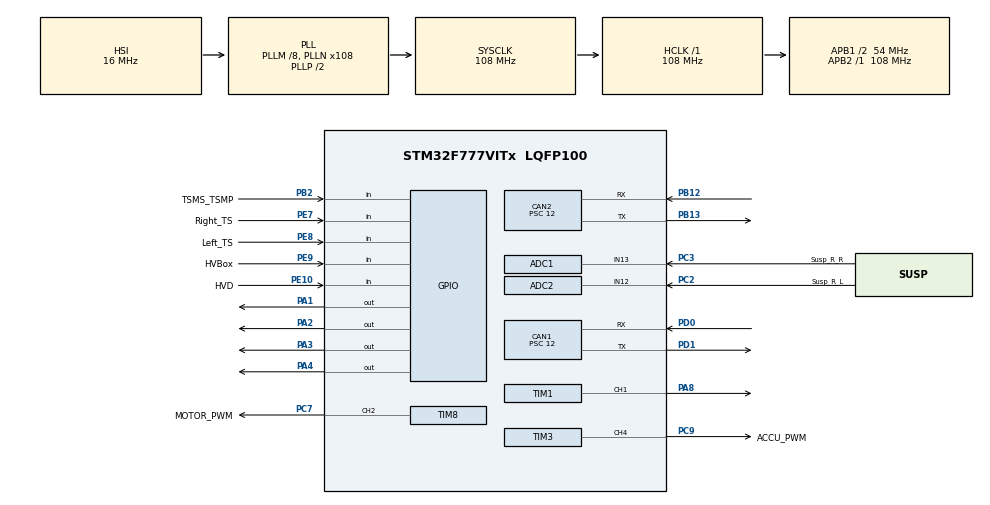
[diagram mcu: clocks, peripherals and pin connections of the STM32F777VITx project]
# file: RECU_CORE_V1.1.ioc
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ADC1.Channel-0\#ChannelRegularConversion=ADC_CHANNEL_13
ADC1.Channel-1\#ChannelRegularConversion=ADC_CHANNEL_12
ADC1.ContinuousConvMode=ENABLE
ADC1.DMAContinuousRequests=ENABLE
ADC1.EOCSelection=ADC_EOC_SEQ_CONV
ADC1.ExternalTrigConv=ADC_EXTERNALTRIGCONV_T5_TRGO
ADC1.NbrOfConversion=2
ADC1.NbrOfConversionFlag=1
ADC1.Rank-0\#ChannelRegularConversion=1
ADC1.Rank-1\#ChannelRegularConversion=2
ADC1.SamplingTime-0\#ChannelRegularConversion=ADC_SAMPLETIME_480CYCLES
ADC1.SamplingTime-1\#ChannelRegularConversion=ADC_SAMPLETIME_480CYCLES
ADC1.ScanConvMode=ADC_SCAN_ENABLE
ADC1.master=1
ADC2.Channel-0\#ChannelRegularConversion=ADC_CHANNEL_12
ADC2.NbrOfConversionFlag=1
ADC2.Rank-0\#ChannelRegularConversion=1
ADC2.SamplingTime-0\#ChannelRegularConversion=ADC_SAMPLETIME_3CYCLES
CAN1.BS1=CAN_BS1_6TQ
CAN1.BS2=CAN_BS2_2TQ
CAN1.CalculateBaudRate=500000
CAN1.CalculateTimeBit=2000
CAN1.CalculateTimeQuantum=222.22222222222223
CAN1.Prescaler=12
CAN2.BS1=CAN_BS1_6TQ
CAN2.BS2=CAN_BS2_2TQ
CAN2.CalculateBaudRate=500000
CAN2.CalculateTimeBit=2000
CAN2.CalculateTimeQuantum=222.22222222222223
CAN2.Prescaler=12
CORTEX_M7.default_mode_Activation=1
Dma.ADC1.0.Direction=DMA_PERIPH_TO_MEMORY
Dma.ADC1.0.FIFOMode=DMA_FIFOMODE_DISABLE
Dma.ADC1.0.Instance=DMA2_Stream0
Dma.ADC1.0.MemDataAlignment=DMA_MDATAALIGN_HALFWORD
Dma.ADC1.0.MemInc=DMA_MINC_ENABLE
Dma.ADC1.0.Mode=DMA_CIRCULAR
Dma.ADC1.0.PeriphDataAlignment=DMA_PDATAALIGN_HALFWORD
Dma.ADC1.0.PeriphInc=DMA_PINC_DISABLE
Dma.ADC1.0.Priority=DMA_PRIORITY_LOW
Dma.Request0=ADC1
Mcu.Family=STM32F7
Mcu.Name=STM32F777VITx
Mcu.Package=LQFP100
NVIC.CAN1_RX0_IRQn=true\:6\:0\:true\:false\:true\:true\:true\:true
NVIC.CAN1_RX1_IRQn=true\:6\:0\:true\:false\:true\:true\:true\:true
NVIC.CAN1_SCE_IRQn=true\:6\:0\:true\:false\:true\:true\:true\:true
NVIC.CAN1_TX_IRQn=true\:6\:0\:true\:false\:true\:true\:true\:true
NVIC.CAN2_RX0_IRQn=true\:6\:0\:true\:false\:true\:true\:true\:true
NVIC.CAN2_RX1_IRQn=true\:6\:0\:true\:false\:true\:true\:true\:true
NVIC.CAN2_SCE_IRQn=true\:6\:0\:true\:false\:true\:true\:true\:true
NVIC.CAN2_TX_IRQn=true\:6\:0\:true\:false\:true\:true\:true\:true
NVIC.DMA2_Stream0_IRQn=true\:2\:0\:true\:false\:true\:false\:true\:true
NVIC.PriorityGroup=NVIC_PRIORITYGROUP_4
NVIC.TIM4_IRQn=true\:0\:0\:true\:false\:true\:true\:true\:true
PA1.Signal=GPIO_Output
PA2.Signal=GPIO_Output
PA3.Signal=GPIO_Output
PA4.Signal=GPIO_Output
PA8.Signal=S_TIM1_CH1
PB12.Mode=CAN_Activate
PB12.Signal=CAN2_RX
PB13.Mode=CAN_Activate
PB13.Signal=CAN2_TX
PB2.GPIO_Label=TSMS_TSMP
PB2.Signal=GPIO_Input
PC2.GPIO_Label=Susp_R_L
PC2.Signal=ADCx_IN12
PC3.GPIO_Label=Susp_R_R
PC3.Signal=ADCx_IN13
PC7.GPIO_Label=MOTOR_PWM
PC7.Signal=S_TIM8_CH2
PC9.GPIO_Label=ACCU_PWM
PC9.Signal=S_TIM3_CH4
PD0.Mode=CAN_Activate
PD0.Signal=CAN1_RX
PD1.Mode=CAN_Activate
PD1.Signal=CAN1_TX
PE10.GPIO_Label=HVD
PE10.Signal=GPIO_Input
PE7.GPIO_Label=Right_TS
PE7.Signal=GPIO_Input
PE8.GPIO_Label=Left_TS
PE8.Signal=GPIO_Input
PE9.GPIO_Label=HVBox
PE9.Signal=GPIO_Input
ProjectManager.HeapSize=0x200
ProjectManager.StackSize=0x400
ProjectManager.TargetToolchain=STM32CubeIDE
RCC.AHBFreq_Value=108000000
RCC.APB1CLKDivider=RCC_HCLK_DIV2
RCC.APB1Freq_Value=54000000
RCC.APB1TimFreq_Value=108000000
RCC.APB2Freq_Value=108000000
RCC.APB2TimFreq_Value=108000000
RCC.CortexFreq_Value=108000000
RCC.HCLKFreq_Value=108000000
RCC.HSE_VALUE=25000000
RCC.HSI_VALUE=16000000
RCC.LSE_VALUE=32768
RCC.PLLM=8
RCC.PLLN=108
RCC.SYSCLKFreq_VALUE=108000000
RCC.SYSCLKSource=RCC_SYSCLKSOURCE_PLLCLK
RCC.USBFreq_Value=108000000
RCC.VCOOutputFreq_Value=216000000
SH.ADCx_IN12.0=ADC2_IN12,IN12
SH.ADCx_IN12.1=ADC1_IN12,IN12
SH.ADCx_IN13.0=ADC1_IN13,IN13
SH.S_TIM1_CH1.0=TIM1_CH1,PWM Generation1 CH1
SH.S_TIM3_CH4.0=TIM3_CH4,PWM Generation4 CH4
SH.S_TIM8_CH2.0=TIM8_CH2,PWM Generation2 CH2
TIM1.AutoReloadPreload=TIM_AUTORELOAD_PRELOAD_ENABLE
TIM1.Channel-PWM\ Generation1\ CH1=TIM_CHANNEL_1
TIM1.Period=100-1
TIM1.Prescaler=54
TIM3.AutoReloadPreload=TIM_AUTORELOAD_PRELOAD_ENABLE
TIM3.Channel-PWM\ Generation4\ CH4=TIM_CHANNEL_4
TIM3.Period=100-1
TIM3.Prescaler=54
TIM3.Pulse-PWM\ Generation4\ CH4=0
TIM4.Prescaler=216
TIM8.AutoReloadPreload=TIM_AUTORELOAD_PRELOAD_ENABLE
TIM8.Channel-PWM\ Generation2\ CH2=TIM_CHANNEL_2
TIM8.Period=100-1
TIM8.Prescaler=54
VP_TIM3_VS_ClockSourceINT.Mode=Internal
VP_TIM4_VS_ClockSourceINT.Mode=Internal
VP_TIM8_VS_ClockSourceINT.Mode=Internal
board=custom

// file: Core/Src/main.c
/* USER CODE BEGIN Header */
/**
  ******************************************************************************
  * @file           : main.c
  * @brief          : Main program body
  ******************************************************************************
  * @attention
  *
  * Copyright (c) 2024 STMicroelectronics.
  * All rights reserved.
  *
  * This software is licensed under terms that can be found in the LICENSE file
  * in the root directory of this software component.
  * If no LICENSE file comes with this software, it is provided AS-IS.
  *
  ******************************************************************************
  */
/* USER CODE END Header */
#include "main.h"

/* USER CODE BEGIN Includes */
#include "RECU.h"
#include "eTechRacingADC.h"
#include "eTechRacing_Filters.h"
#include "can_comunication.h"
#include "stdint.h"
#include "stdio.h"
#include "P_Controller.h"

//ADC MEASURES-----------------------------------------------------------------------------------------------
uint16_t adc_buffer[2];
uint16_t Susp_R_R[2];
uint16_t Susp_R_L[2];

/* USER CODE END Includes */

/* USER CODE BEGIN PD */
//CODE VARIABLES---------------------------------------------------------------------------------------------
uint8_t Refri_Accu = 0;
uint8_t Refri_Inverters = 0;
uint8_t Refri_Motors = 0;
uint8_t Brakelight;
int duty_inverters;
int duty_motors;
int duty_accu;
uint8_t TSMS;
uint8_t TS_Right;
uint8_t TS_Left;
uint8_t HV_Box;
uint8_t HVD;

//Temperature control------------------------------------------------------------------------------------------
float Temperature_Accu;
float Inverter_R_Temp;
float Inverter_L_Temp;
float Inverter_Highest_Temp;
float Motor_R_Temp;
float Motor_L_Temp;
float Motor_Highest_Temp;

uint8_t DC_accu  = 127;
uint8_t DC_inverters = 200;

uint8_t Keep_Alive = 0;

P_Controller *pc;

//CAN--------------------------------------------------------------------------------------------
CAN_RxHeaderTypeDef RxHeader;
CAN_TxHeaderTypeDef TxHeader;
CAN_FilterTypeDef canfil;
CAN_FilterTypeDef canfil2;
uint8_t RxData[30];
uint8_t TxData[30];

/* USER CODE END PD */

ADC_HandleTypeDef hadc1;
ADC_HandleTypeDef hadc2;
DMA_HandleTypeDef hdma_adc1;

CAN_HandleTypeDef hcan1;
CAN_HandleTypeDef hcan2;

TIM_HandleTypeDef htim1;
TIM_HandleTypeDef htim3;
TIM_HandleTypeDef htim4;
TIM_HandleTypeDef htim8;

void SystemClock_Config(void);
static void MPU_Config(void);
static void MX_GPIO_Init(void);
static void MX_DMA_Init(void);
static void MX_ADC1_Init(void);
static void MX_CAN1_Init(void);
static void MX_CAN2_Init(void);
static void MX_TIM3_Init(void);
static void MX_TIM8_Init(void);
static void MX_TIM4_Init(void);
static void MX_ADC2_Init(void);
static void MX_TIM1_Init(void);

/* USER CODE BEGIN 0 */
void refri_init(void){
	HAL_GPIO_TogglePin(GPIOA, GPIO_PIN_2);
	TIM3->CCR4=100 - P_Controller_Init(pc);
	HAL_Delay(500);
	TIM8->CCR3=100 - P_Controller_Init(pc);
	HAL_Delay(500);
	TIM8->CCR2=100 - P_Controller_Init(pc);
	HAL_Delay(500);
}

/* USER CODE END 0 */

int main(void)
{

  /* MPU Configuration--------------------------------------------------------*/
  MPU_Config();

  /* MCU Configuration--------------------------------------------------------*/

  /* Reset of all peripherals, Initializes the Flash interface and the Systick. */
  HAL_Init();

  /* Configure the system clock */
  SystemClock_Config();

  /* Initialize all configured peripherals */
  MX_GPIO_Init();
  MX_DMA_Init();
  MX_ADC1_Init();
  MX_CAN1_Init();
  MX_CAN2_Init();
  MX_TIM3_Init();
  MX_TIM8_Init();
  MX_TIM4_Init();
  MX_ADC2_Init();
  MX_TIM1_Init();
  /* USER CODE BEGIN 2 */

   CAN1_FILTER_INIT(&canfil);												//CAN 1 Filter
   CAN2_FILTER_INIT(&canfil2);											//CAN 2 Filter

   CAN1_CONFIG_INIT(canfil, hcan1);										//CAN 1 Configuration - Initialization
   CAN2_CONFIG_INIT(canfil2, hcan2);										//CAN 2 Configuration - Initialization

  HAL_ADC_Start_DMA(&hadc1,(uint32_t*) adc_buffer, 2);
  HAL_TIM_Base_Start_IT(&htim4);
  HAL_TIM_PWM_Start(&htim3, TIM_CHANNEL_4);
  HAL_TIM_PWM_Start(&htim8, TIM_CHANNEL_3);
  HAL_TIM_PWM_Start(&htim8, TIM_CHANNEL_2);
  HAL_TIM_PWM_Start(&htim1, TIM_CHANNEL_1);
  refri_init();

  /* USER CODE END 2 */

  /* Infinite loop */
  while (1)
  {

  }
}

void SystemClock_Config(void)
{
  RCC_OscInitTypeDef RCC_OscInitStruct = {0};
  RCC_ClkInitTypeDef RCC_ClkInitStruct = {0};

  /** Configure the main internal regulator output voltage
  */
  __HAL_RCC_PWR_CLK_ENABLE();
  __HAL_PWR_VOLTAGESCALING_CONFIG(PWR_REGULATOR_VOLTAGE_SCALE3);

  /** Initializes the RCC Oscillators according to the specified parameters
  * in the RCC_OscInitTypeDef structure.
  */
  RCC_OscInitStruct.OscillatorType = RCC_OSCILLATORTYPE_HSI;
  RCC_OscInitStruct.HSIState = RCC_HSI_ON;
  RCC_OscInitStruct.HSICalibrationValue = RCC_HSICALIBRATION_DEFAULT;
  RCC_OscInitStruct.PLL.PLLState = RCC_PLL_ON;
  RCC_OscInitStruct.PLL.PLLSource = RCC_PLLSOURCE_HSI;
  RCC_OscInitStruct.PLL.PLLM = 8;
  RCC_OscInitStruct.PLL.PLLN = 108;
  RCC_OscInitStruct.PLL.PLLP = RCC_PLLP_DIV2;
  RCC_OscInitStruct.PLL.PLLQ = 2;
  RCC_OscInitStruct.PLL.PLLR = 2;
  if (HAL_RCC_OscConfig(&RCC_OscInitStruct) != HAL_OK)
  {
    Error_Handler();
  }

  /** Activate the Over-Drive mode
  */
  if (HAL_PWREx_EnableOverDrive() != HAL_OK)
  {
    Error_Handler();
  }

  /** Initializes the CPU, AHB and APB buses clocks
  */
  RCC_ClkInitStruct.ClockType = RCC_CLOCKTYPE_HCLK|RCC_CLOCKTYPE_SYSCLK
                              |RCC_CLOCKTYPE_PCLK1|RCC_CLOCKTYPE_PCLK2;
  RCC_ClkInitStruct.SYSCLKSource = RCC_SYSCLKSOURCE_PLLCLK;
  RCC_ClkInitStruct.AHBCLKDivider = RCC_SYSCLK_DIV1;
  RCC_ClkInitStruct.APB1CLKDivider = RCC_HCLK_DIV2;
  RCC_ClkInitStruct.APB2CLKDivider = RCC_HCLK_DIV1;

  if (HAL_RCC_ClockConfig(&RCC_ClkInitStruct, FLASH_LATENCY_3) != HAL_OK)
  {
    Error_Handler();
  }
}

static void MX_ADC1_Init(void)
{

  ADC_ChannelConfTypeDef sConfig = {0};

  /** Configure the global features of the ADC (Clock, Resolution, Data Alignment and number of conversion)
  */
  hadc1.Instance = ADC1;
  hadc1.Init.ClockPrescaler = ADC_CLOCK_SYNC_PCLK_DIV4;
  hadc1.Init.Resolution = ADC_RESOLUTION_12B;
  hadc1.Init.ScanConvMode = ADC_SCAN_ENABLE;
  hadc1.Init.ContinuousConvMode = ENABLE;
  hadc1.Init.DiscontinuousConvMode = DISABLE;
  hadc1.Init.ExternalTrigConvEdge = ADC_EXTERNALTRIGCONVEDGE_RISING;
  hadc1.Init.ExternalTrigConv = ADC_EXTERNALTRIGCONV_T5_TRGO;
  hadc1.Init.DataAlign = ADC_DATAALIGN_RIGHT;
  hadc1.Init.NbrOfConversion = 2;
  hadc1.Init.DMAContinuousRequests = ENABLE;
  hadc1.Init.EOCSelection = ADC_EOC_SEQ_CONV;
  if (HAL_ADC_Init(&hadc1) != HAL_OK)
  {
    Error_Handler();
  }

  /** Configure for the selected ADC regular channel its corresponding rank in the sequencer and its sample time.
  */
  sConfig.Channel = ADC_CHANNEL_13;
  sConfig.Rank = ADC_REGULAR_RANK_1;
  sConfig.SamplingTime = ADC_SAMPLETIME_480CYCLES;
  if (HAL_ADC_ConfigChannel(&hadc1, &sConfig) != HAL_OK)
  {
    Error_Handler();
  }

  /** Configure for the selected ADC regular channel its corresponding rank in the sequencer and its sample time.
  */
  sConfig.Channel = ADC_CHANNEL_12;
  sConfig.Rank = ADC_REGULAR_RANK_2;
  if (HAL_ADC_ConfigChannel(&hadc1, &sConfig) != HAL_OK)
  {
    Error_Handler();
  }

}

static void MX_ADC2_Init(void)
{

  ADC_ChannelConfTypeDef sConfig = {0};

  /** Configure the global features of the ADC (Clock, Resolution, Data Alignment and number of conversion)
  */
  hadc2.Instance = ADC2;
  hadc2.Init.ClockPrescaler = ADC_CLOCK_SYNC_PCLK_DIV4;
  hadc2.Init.Resolution = ADC_RESOLUTION_12B;
  hadc2.Init.ScanConvMode = ADC_SCAN_DISABLE;
  hadc2.Init.ContinuousConvMode = DISABLE;
  hadc2.Init.DiscontinuousConvMode = DISABLE;
  hadc2.Init.ExternalTrigConvEdge = ADC_EXTERNALTRIGCONVEDGE_NONE;
  hadc2.Init.ExternalTrigConv = ADC_SOFTWARE_START;
  hadc2.Init.DataAlign = ADC_DATAALIGN_RIGHT;
  hadc2.Init.NbrOfConversion = 1;
  hadc2.Init.DMAContinuousRequests = DISABLE;
  hadc2.Init.EOCSelection = ADC_EOC_SINGLE_CONV;
  if (HAL_ADC_Init(&hadc2) != HAL_OK)
  {
    Error_Handler();
  }

  /** Configure for the selected ADC regular channel its corresponding rank in the sequencer and its sample time.
  */
  sConfig.Channel = ADC_CHANNEL_12;
  sConfig.Rank = ADC_REGULAR_RANK_1;
  sConfig.SamplingTime = ADC_SAMPLETIME_3CYCLES;
  if (HAL_ADC_ConfigChannel(&hadc2, &sConfig) != HAL_OK)
  {
    Error_Handler();
  }

}

static void MX_CAN1_Init(void)
{

  hcan1.Instance = CAN1;
  hcan1.Init.Prescaler = 12;
  hcan1.Init.Mode = CAN_MODE_NORMAL;
  hcan1.Init.SyncJumpWidth = CAN_SJW_1TQ;
  hcan1.Init.TimeSeg1 = CAN_BS1_6TQ;
  hcan1.Init.TimeSeg2 = CAN_BS2_2TQ;
  hcan1.Init.TimeTriggeredMode = DISABLE;
  hcan1.Init.AutoBusOff = DISABLE;
  hcan1.Init.AutoWakeUp = DISABLE;
  hcan1.Init.AutoRetransmission = DISABLE;
  hcan1.Init.ReceiveFifoLocked = DISABLE;
  hcan1.Init.TransmitFifoPriority = DISABLE;
  if (HAL_CAN_Init(&hcan1) != HAL_OK)
  {
    Error_Handler();
  }

}

static void MX_CAN2_Init(void)
{

  hcan2.Instance = CAN2;
  hcan2.Init.Prescaler = 12;
  hcan2.Init.Mode = CAN_MODE_NORMAL;
  hcan2.Init.SyncJumpWidth = CAN_SJW_1TQ;
  hcan2.Init.TimeSeg1 = CAN_BS1_6TQ;
  hcan2.Init.TimeSeg2 = CAN_BS2_2TQ;
  hcan2.Init.TimeTriggeredMode = DISABLE;
  hcan2.Init.AutoBusOff = DISABLE;
  hcan2.Init.AutoWakeUp = DISABLE;
  hcan2.Init.AutoRetransmission = DISABLE;
  hcan2.Init.ReceiveFifoLocked = DISABLE;
  hcan2.Init.TransmitFifoPriority = DISABLE;
  if (HAL_CAN_Init(&hcan2) != HAL_OK)
  {
    Error_Handler();
  }

}

static void MX_TIM1_Init(void)
{

  TIM_MasterConfigTypeDef sMasterConfig = {0};
  TIM_OC_InitTypeDef sConfigOC = {0};
  TIM_BreakDeadTimeConfigTypeDef sBreakDeadTimeConfig = {0};

  htim1.Instance = TIM1;
  htim1.Init.Prescaler = 54;
  htim1.Init.CounterMode = TIM_COUNTERMODE_UP;
  htim1.Init.Period = 100-1;
  htim1.Init.ClockDivision = TIM_CLOCKDIVISION_DIV1;
  htim1.Init.RepetitionCounter = 0;
  htim1.Init.AutoReloadPreload = TIM_AUTORELOAD_PRELOAD_ENABLE;
  if (HAL_TIM_PWM_Init(&htim1) != HAL_OK)
  {
    Error_Handler();
  }
  sMasterConfig.MasterOutputTrigger = TIM_TRGO_RESET;
  sMasterConfig.MasterOutputTrigger2 = TIM_TRGO2_RESET;
  sMasterConfig.MasterSlaveMode = TIM_MASTERSLAVEMODE_DISABLE;
  if (HAL_TIMEx_MasterConfigSynchronization(&htim1, &sMasterConfig) != HAL_OK)
  {
    Error_Handler();
  }
  sConfigOC.OCMode = TIM_OCMODE_PWM1;
  sConfigOC.Pulse = 0;
  sConfigOC.OCPolarity = TIM_OCPOLARITY_HIGH;
  sConfigOC.OCNPolarity = TIM_OCNPOLARITY_HIGH;
  sConfigOC.OCFastMode = TIM_OCFAST_DISABLE;
  sConfigOC.OCIdleState = TIM_OCIDLESTATE_RESET;
  sConfigOC.OCNIdleState = TIM_OCNIDLESTATE_RESET;
  if (HAL_TIM_PWM_ConfigChannel(&htim1, &sConfigOC, TIM_CHANNEL_1) != HAL_OK)
  {
    Error_Handler();
  }
  sBreakDeadTimeConfig.OffStateRunMode = TIM_OSSR_DISABLE;
  sBreakDeadTimeConfig.OffStateIDLEMode = TIM_OSSI_DISABLE;
  sBreakDeadTimeConfig.LockLevel = TIM_LOCKLEVEL_OFF;
  sBreakDeadTimeConfig.DeadTime = 0;
  sBreakDeadTimeConfig.BreakState = TIM_BREAK_DISABLE;
  sBreakDeadTimeConfig.BreakPolarity = TIM_BREAKPOLARITY_HIGH;
  sBreakDeadTimeConfig.BreakFilter = 0;
  sBreakDeadTimeConfig.Break2State = TIM_BREAK2_DISABLE;
  sBreakDeadTimeConfig.Break2Polarity = TIM_BREAK2POLARITY_HIGH;
  sBreakDeadTimeConfig.Break2Filter = 0;
  sBreakDeadTimeConfig.AutomaticOutput = TIM_AUTOMATICOUTPUT_DISABLE;
  if (HAL_TIMEx_ConfigBreakDeadTime(&htim1, &sBreakDeadTimeConfig) != HAL_OK)
  {
    Error_Handler();
  }
  HAL_TIM_MspPostInit(&htim1);

}

static void MX_TIM3_Init(void)
{

  TIM_ClockConfigTypeDef sClockSourceConfig = {0};
  TIM_MasterConfigTypeDef sMasterConfig = {0};
  TIM_OC_InitTypeDef sConfigOC = {0};

  htim3.Instance = TIM3;
  htim3.Init.Prescaler = 54;
  htim3.Init.CounterMode = TIM_COUNTERMODE_UP;
  htim3.Init.Period = 100-1;
  htim3.Init.ClockDivision = TIM_CLOCKDIVISION_DIV1;
  htim3.Init.AutoReloadPreload = TIM_AUTORELOAD_PRELOAD_ENABLE;
  if (HAL_TIM_Base_Init(&htim3) != HAL_OK)
  {
    Error_Handler();
  }
  sClockSourceConfig.ClockSource = TIM_CLOCKSOURCE_INTERNAL;
  if (HAL_TIM_ConfigClockSource(&htim3, &sClockSourceConfig) != HAL_OK)
  {
    Error_Handler();
  }
  if (HAL_TIM_PWM_Init(&htim3) != HAL_OK)
  {
    Error_Handler();
  }
  sMasterConfig.MasterOutputTrigger = TIM_TRGO_RESET;
  sMasterConfig.MasterSlaveMode = TIM_MASTERSLAVEMODE_DISABLE;
  if (HAL_TIMEx_MasterConfigSynchronization(&htim3, &sMasterConfig) != HAL_OK)
  {
    Error_Handler();
  }
  sConfigOC.OCMode = TIM_OCMODE_PWM1;
  sConfigOC.Pulse = 0;
  sConfigOC.OCPolarity = TIM_OCPOLARITY_HIGH;
  sConfigOC.OCFastMode = TIM_OCFAST_DISABLE;
  if (HAL_TIM_PWM_ConfigChannel(&htim3, &sConfigOC, TIM_CHANNEL_4) != HAL_OK)
  {
    Error_Handler();
  }
  HAL_TIM_MspPostInit(&htim3);

}

static void MX_TIM4_Init(void)
{

  TIM_ClockConfigTypeDef sClockSourceConfig = {0};
  TIM_MasterConfigTypeDef sMasterConfig = {0};

  htim4.Instance = TIM4;
  htim4.Init.Prescaler = 216;
  htim4.Init.CounterMode = TIM_COUNTERMODE_UP;
  htim4.Init.Period = 65535;
  htim4.Init.ClockDivision = TIM_CLOCKDIVISION_DIV1;
  htim4.Init.AutoReloadPreload = TIM_AUTORELOAD_PRELOAD_DISABLE;
  if (HAL_TIM_Base_Init(&htim4) != HAL_OK)
  {
    Error_Handler();
  }
  sClockSourceConfig.ClockSource = TIM_CLOCKSOURCE_INTERNAL;
  if (HAL_TIM_ConfigClockSource(&htim4, &sClockSourceConfig) != HAL_OK)
  {
    Error_Handler();
  }
  sMasterConfig.MasterOutputTrigger = TIM_TRGO_RESET;
  sMasterConfig.MasterSlaveMode = TIM_MASTERSLAVEMODE_DISABLE;
  if (HAL_TIMEx_MasterConfigSynchronization(&htim4, &sMasterConfig) != HAL_OK)
  {
    Error_Handler();
  }

}

static void MX_TIM8_Init(void)
{

  TIM_ClockConfigTypeDef sClockSourceConfig = {0};
  TIM_MasterConfigTypeDef sMasterConfig = {0};
  TIM_OC_InitTypeDef sConfigOC = {0};
  TIM_BreakDeadTimeConfigTypeDef sBreakDeadTimeConfig = {0};

  htim8.Instance = TIM8;
  htim8.Init.Prescaler = 54;
  htim8.Init.CounterMode = TIM_COUNTERMODE_UP;
  htim8.Init.Period = 100-1;
  htim8.Init.ClockDivision = TIM_CLOCKDIVISION_DIV1;
  htim8.Init.RepetitionCounter = 0;
  htim8.Init.AutoReloadPreload = TIM_AUTORELOAD_PRELOAD_ENABLE;
  if (HAL_TIM_Base_Init(&htim8) != HAL_OK)
  {
    Error_Handler();
  }
  sClockSourceConfig.ClockSource = TIM_CLOCKSOURCE_INTERNAL;
  if (HAL_TIM_ConfigClockSource(&htim8, &sClockSourceConfig) != HAL_OK)
  {
    Error_Handler();
  }
  if (HAL_TIM_PWM_Init(&htim8) != HAL_OK)
  {
    Error_Handler();
  }
  sMasterConfig.MasterOutputTrigger = TIM_TRGO_RESET;
  sMasterConfig.MasterOutputTrigger2 = TIM_TRGO2_RESET;
  sMasterConfig.MasterSlaveMode = TIM_MASTERSLAVEMODE_DISABLE;
  if (HAL_TIMEx_MasterConfigSynchronization(&htim8, &sMasterConfig) != HAL_OK)
  {
    Error_Handler();
  }
  sConfigOC.OCMode = TIM_OCMODE_PWM1;
  sConfigOC.Pulse = 0;
  sConfigOC.OCPolarity = TIM_OCPOLARITY_HIGH;
  sConfigOC.OCNPolarity = TIM_OCNPOLARITY_HIGH;
  sConfigOC.OCFastMode = TIM_OCFAST_DISABLE;
  sConfigOC.OCIdleState = TIM_OCIDLESTATE_RESET;
  sConfigOC.OCNIdleState = TIM_OCNIDLESTATE_RESET;
  if (HAL_TIM_PWM_ConfigChannel(&htim8, &sConfigOC, TIM_CHANNEL_2) != HAL_OK)
  {
    Error_Handler();
  }
  sBreakDeadTimeConfig.OffStateRunMode = TIM_OSSR_DISABLE;
  sBreakDeadTimeConfig.OffStateIDLEMode = TIM_OSSI_DISABLE;
  sBreakDeadTimeConfig.LockLevel = TIM_LOCKLEVEL_OFF;
  sBreakDeadTimeConfig.DeadTime = 0;
  sBreakDeadTimeConfig.BreakState = TIM_BREAK_DISABLE;
  sBreakDeadTimeConfig.BreakPolarity = TIM_BREAKPOLARITY_HIGH;
  sBreakDeadTimeConfig.BreakFilter = 0;
  sBreakDeadTimeConfig.Break2State = TIM_BREAK2_DISABLE;
  sBreakDeadTimeConfig.Break2Polarity = TIM_BREAK2POLARITY_HIGH;
  sBreakDeadTimeConfig.Break2Filter = 0;
  sBreakDeadTimeConfig.AutomaticOutput = TIM_AUTOMATICOUTPUT_DISABLE;
  if (HAL_TIMEx_ConfigBreakDeadTime(&htim8, &sBreakDeadTimeConfig) != HAL_OK)
  {
    Error_Handler();
  }
  HAL_TIM_MspPostInit(&htim8);

}

static void MX_DMA_Init(void)
{

  /* DMA controller clock enable */
  __HAL_RCC_DMA2_CLK_ENABLE();

  /* DMA interrupt init */
  /* DMA2_Stream0_IRQn interrupt configuration */
  HAL_NVIC_SetPriority(DMA2_Stream0_IRQn, 2, 0);
  HAL_NVIC_EnableIRQ(DMA2_Stream0_IRQn);

}

static void MX_GPIO_Init(void)
{
  GPIO_InitTypeDef GPIO_InitStruct = {0};

  /* GPIO Ports Clock Enable */
  __HAL_RCC_GPIOC_CLK_ENABLE();
  __HAL_RCC_GPIOA_CLK_ENABLE();
  __HAL_RCC_GPIOB_CLK_ENABLE();
  __HAL_RCC_GPIOE_CLK_ENABLE();
  __HAL_RCC_GPIOD_CLK_ENABLE();

  /*Configure GPIO pin Output Level */
  HAL_GPIO_WritePin(GPIOA, GPIO_PIN_1|GPIO_PIN_2|GPIO_PIN_3|GPIO_PIN_4, GPIO_PIN_RESET);

  /*Configure GPIO pins : PA1 PA2 PA3 PA4 */
  GPIO_InitStruct.Pin = GPIO_PIN_1|GPIO_PIN_2|GPIO_PIN_3|GPIO_PIN_4;
  GPIO_InitStruct.Mode = GPIO_MODE_OUTPUT_PP;
  GPIO_InitStruct.Pull = GPIO_NOPULL;
  GPIO_InitStruct.Speed = GPIO_SPEED_FREQ_LOW;
  HAL_GPIO_Init(GPIOA, &GPIO_InitStruct);

  /*Configure GPIO pin : TSMS_TSMP_Pin */
  GPIO_InitStruct.Pin = TSMS_TSMP_Pin;
  GPIO_InitStruct.Mode = GPIO_MODE_INPUT;
  GPIO_InitStruct.Pull = GPIO_NOPULL;
  HAL_GPIO_Init(TSMS_TSMP_GPIO_Port, &GPIO_InitStruct);

  /*Configure GPIO pins : Right_TS_Pin Left_TS_Pin HVBox_Pin HVD_Pin */
  GPIO_InitStruct.Pin = Right_TS_Pin|Left_TS_Pin|HVBox_Pin|HVD_Pin;
  GPIO_InitStruct.Mode = GPIO_MODE_INPUT;
  GPIO_InitStruct.Pull = GPIO_NOPULL;
  HAL_GPIO_Init(GPIOE, &GPIO_InitStruct);

}

/* USER CODE BEGIN 4 */
void HAL_ADC_ConvCpltCallback(ADC_HandleTypeDef *hadc){
	   	  Susp_R_R[0] = adc_buffer[0];
	   	applyLowPassFilter(Susp_R_R);
	   	  Susp_R_L[0] = adc_buffer[1];
	   	applyLowPassFilter(Susp_R_L);
  }

void HAL_CAN_RxFifo0MsgPendingCallback(CAN_HandleTypeDef *hcan)
 {
		//Lectura del missatge rebut
	   if(HAL_CAN_GetRxMessage(hcan, CAN_RX_FIFO0, &RxHeader, RxData) != HAL_OK) Error_Handler();

	    switch(RxHeader.StdId){
	      	case(ACCU_TEMP):
	      			Temperature_Accu=((RxData[2]<<8)+RxData[3])/10;
	        }
	   }

void HAL_CAN_RxFifo1MsgPendingCallback(CAN_HandleTypeDef *hcan)
 {
	   if(HAL_CAN_GetRxMessage(hcan, CAN_RX_FIFO1, &RxHeader, RxData) != HAL_OK) Error_Handler();

	   switch(RxHeader.StdId){
	   	 		   	   case(ETAS_SYNC):
							message_cantx_RECU_Keep_Alive(hcan2, Keep_Alive, TxData, TxHeader);
	   	 					message_cantx_RECU_Data(hcan2, Susp_R_R[0], Susp_R_L[0], TxData, TxHeader);
	   	 					TSMS=HAL_GPIO_ReadPin(GPIOB, GPIO_PIN_2);
	   	 					TS_Right=HAL_GPIO_ReadPin(GPIOE, GPIO_PIN_7);
	   	 					TS_Left=HAL_GPIO_ReadPin(GPIOE, GPIO_PIN_8);
	   	 					HV_Box=HAL_GPIO_ReadPin(GPIOE, GPIO_PIN_9);
	   	 					HVD=HAL_GPIO_ReadPin(GPIOE, GPIO_PIN_10);
	   	 		   	   	   	message_cantx_RECU_SDC(hcan2,TSMS ,TS_Right ,TS_Left , HV_Box, HVD, TxData, TxHeader);
	   	 			  		Keep_Alive++;
	   	 			   break;
	   	 		   	   case(DASH_COOLING):
	   	 		     	   Refri_Accu = RxData[0] & 0b00000011;
	   	 		     	   Refri_Inverters = (RxData[0] & 0b00001100)>>2;
	   	 		     	   Refri_Motors = (RxData[0] & 0b00110000)>>4;
	   	 		       break;
	   	 		   	   case(INVERTER_L_DATA):
	   	 			       Inverter_L_Temp = ((RxData[0]<<8)+RxData[1])*0.01f;//100º offset(conversion by main ecu)
	   	 		       	   Motor_L_Temp = ((RxData[2]<<8)+RxData[3])*0.01f;
	   	 		   	   break;
	   	 		   	case(INVERTER_R_DATA):
							Inverter_R_Temp = ((RxData[0]<<8)+RxData[1])*0.01f;//100º offset(conversion by main ecu)
			   	 		    Motor_R_Temp = ((RxData[2]<<8)+RxData[3])*0.01f;
	   	 		   	       break;
	   	 		    case(BRAKELIGHT):
	   	 		    		Brakelight=RxData[0];
	   	 		    		if(Brakelight==1){
	   	 		    			HAL_GPIO_WritePin(GPIOA, GPIO_PIN_1, 1);
	   	 		    			HAL_GPIO_WritePin(GPIOA, GPIO_PIN_2, 1);
	   	 		    			HAL_GPIO_WritePin(GPIOA, GPIO_PIN_3, 1);
	   	 		    			HAL_GPIO_WritePin(GPIOA, GPIO_PIN_4, 1);
	   	 		    		}
	   	 		    		else{
	   	 		    			HAL_GPIO_WritePin(GPIOA, GPIO_PIN_1, 0);
	   	 		    			HAL_GPIO_WritePin(GPIOA, GPIO_PIN_2, 0);
	   	 		    			HAL_GPIO_WritePin(GPIOA, GPIO_PIN_3, 0);
	   	 		    			HAL_GPIO_WritePin(GPIOA, GPIO_PIN_4, 0);
	   	 		    		}

	   	 			   	    break;
	   	 		   	   }
 }
void HAL_TIM_PeriodElapsedCallback(TIM_HandleTypeDef *htim)
{
  // Check which version of the timer triggered this callback and toggle LED
  if (htim == &htim4)
  {
	if(Inverter_L_Temp>=Inverter_R_Temp){
		Inverter_Highest_Temp=Inverter_L_Temp;
	}
	else{
		Inverter_Highest_Temp=Inverter_R_Temp;
	}

	if(Inverter_L_Temp>=Inverter_R_Temp){
		Motor_Highest_Temp=Motor_L_Temp;
	}
	else{
		Motor_Highest_Temp=Motor_R_Temp;
	}

    duty_accu = P_Controller_Update(pc, Temperature_Accu, Refri_Accu, 0);
	TIM3->CCR4 = 100 - duty_accu;

    duty_motors = P_Controller_Update(pc, Motor_Highest_Temp, Refri_Motors, 1);
    TIM1->CCR1 = 100 - duty_motors;

    duty_inverters = P_Controller_Update(pc, Inverter_Highest_Temp, Refri_Inverters, 2);
    TIM8->CCR2 = 100 - duty_inverters;
  }
}
/* USER CODE END 4 */

 /* MPU Configuration */

void MPU_Config(void)
{
  MPU_Region_InitTypeDef MPU_InitStruct = {0};

  /* Disables the MPU */
  HAL_MPU_Disable();

  /** Initializes and configures the Region and the memory to be protected
  */
  MPU_InitStruct.Enable = MPU_REGION_ENABLE;
  MPU_InitStruct.Number = MPU_REGION_NUMBER0;
  MPU_InitStruct.BaseAddress = 0x0;
  MPU_InitStruct.Size = MPU_REGION_SIZE_4GB;
  MPU_InitStruct.SubRegionDisable = 0x87;
  MPU_InitStruct.TypeExtField = MPU_TEX_LEVEL0;
  MPU_InitStruct.AccessPermission = MPU_REGION_NO_ACCESS;
  MPU_InitStruct.DisableExec = MPU_INSTRUCTION_ACCESS_DISABLE;
  MPU_InitStruct.IsShareable = MPU_ACCESS_SHAREABLE;
  MPU_InitStruct.IsCacheable = MPU_ACCESS_NOT_CACHEABLE;
  MPU_InitStruct.IsBufferable = MPU_ACCESS_NOT_BUFFERABLE;

  HAL_MPU_ConfigRegion(&MPU_InitStruct);
  /* Enables the MPU */
  HAL_MPU_Enable(MPU_PRIVILEGED_DEFAULT);

}

void Error_Handler(void)
{
  __disable_irq();
  while (1)
  {
  }
}
